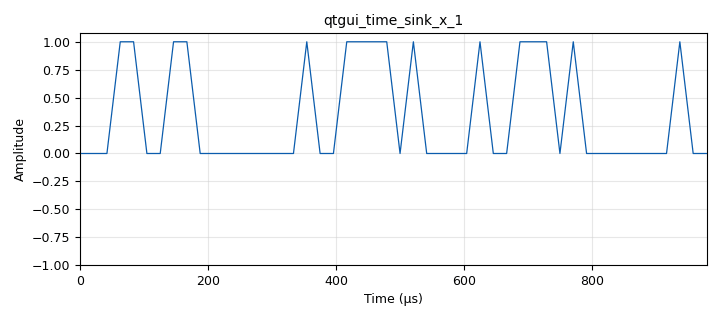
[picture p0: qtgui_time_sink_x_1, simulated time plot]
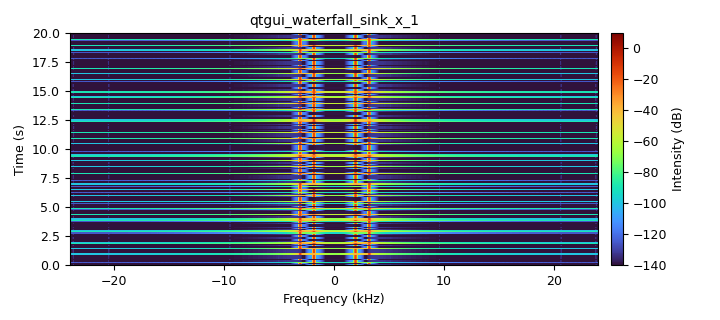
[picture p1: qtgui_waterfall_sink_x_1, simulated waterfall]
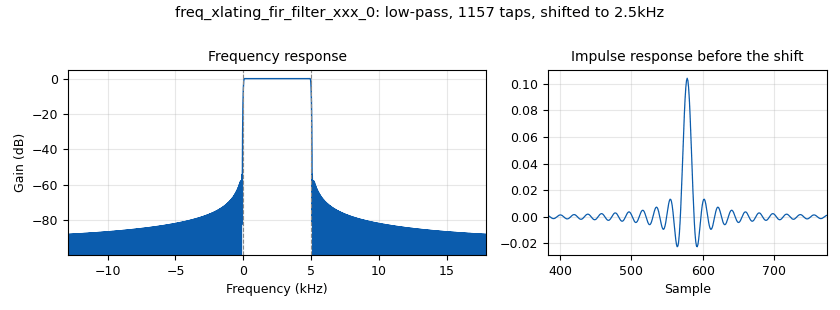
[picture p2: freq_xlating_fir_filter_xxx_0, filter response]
options:
  parameters:
    author: ubuntu
    generate_options: qt_gui
    id: test_vco
    output_language: python
    title: FSK demo
  states: {}

blocks:
- name: deviation
  id: variable
  parameters:
    value: '600'
  states: {}
- name: fc
  id: variable_qtgui_range
  parameters:
    label: Center frequency
    start: '100'
    step: '10'
    stop: '20000'
    value: '2500'
  states: {}
- name: samp_rate
  id: variable
  parameters:
    value: '48000'
  states: {}
- name: sensitivity
  id: variable
  parameters:
    value: 2*math.pi*deviation
  states: {}
- name: sps
  id: variable
  parameters:
    value: int(samp_rate/32)
  states: {}
- name: variable_low_pass_filter_taps_0
  id: variable_low_pass_filter_taps
  parameters:
    cutoff_freq: fc
    gain: '1.0'
    samp_rate: samp_rate
    width: '100'
    win: window.WIN_HAMMING
  states: {}
- name: analog_agc_xx_0
  id: analog_agc_xx
  parameters:
    gain: '1.0'
    max_gain: '2'
    rate: '1e-4'
    reference: '1.0'
    type: float
  states: {}
- name: analog_quadrature_demod_cf_1
  id: analog_quadrature_demod_cf
  parameters:
    gain: samp_rate/(2*math.pi*deviation)
  states: {}
- name: analog_random_source_x_0
  id: analog_random_source_x
  parameters:
    max: '2'
    min: '0'
    num_samps: '1000'
    repeat: 'True'
    type: byte
  states: {}
- name: blocks_add_const_vxx_0
  id: blocks_add_const_vxx
  parameters:
    const: fc/(sensitivity/(2*math.pi))
    type: float
  states: {}
- name: blocks_add_const_vxx_1
  id: blocks_add_const_vxx
  parameters:
    const: '-1'
    type: float
  states: {}
- name: blocks_char_to_float_0
  id: blocks_char_to_float
  parameters:
    scale: '1'
  states: {}
- name: blocks_char_to_float_1
  id: blocks_char_to_float
  parameters:
    scale: '1'
  states: {}
- name: blocks_multiply_const_vxx_1
  id: blocks_multiply_const_vxx
  parameters:
    const: '2'
    type: float
  states: {}
- name: blocks_repeat_0
  id: blocks_repeat
  parameters:
    interp: sps
    type: byte
  states: {}
- name: blocks_throttle2_0
  id: blocks_throttle2
  parameters:
    samples_per_second: samp_rate
    type: float
  states: {}
- name: blocks_vco_f_0
  id: blocks_vco_f
  parameters:
    amplitude: '1'
    samp_rate: samp_rate
    sensitivity: sensitivity
  states: {}
- name: blocks_wavfile_sink_0
  id: blocks_wavfile_sink
  parameters:
    bits_per_sample1: FORMAT_FLOAT
    file: vco.wav
    format: FORMAT_WAV
    samp_rate: samp_rate
  states: {}
- name: digital_binary_slicer_fb_0
  id: digital_binary_slicer_fb
  parameters: {}
  states: {}
- name: digital_symbol_sync_xx_0
  id: digital_symbol_sync_xx
  parameters:
    damping: '1.0'
    loop_bw: '0.045'
    max_dev: '1.5'
    osps: '1'
    resamp_type: digital.IR_MMSE_8TAP
    sps: sps
    ted_gain: '1.0'
    ted_type: digital.TED_EARLY_LATE
    type: ff
  states: {}
- name: freq_xlating_fir_filter_xxx_0
  id: freq_xlating_fir_filter_xxx
  parameters:
    center_freq: fc
    decim: '1'
    samp_rate: samp_rate
    taps: variable_low_pass_filter_taps_0
    type: fcc
  states: {}
- name: import_0
  id: import
  parameters:
    imports: import math
  states: {}
- name: qtgui_time_sink_x_1
  id: qtgui_time_sink_x
  parameters:
    size: int(1.5*samp_rate/sps)
    srate: samp_rate
    type: float
  states: {}
- name: qtgui_waterfall_sink_x_1
  id: qtgui_waterfall_sink_x
  parameters:
    bw: samp_rate
    fc: '0'
    fftsize: '1024'
    type: float
  states: {}

connections:
- [analog_agc_xx_0, '0', digital_symbol_sync_xx_0, '0']
- [analog_quadrature_demod_cf_1, '0', analog_agc_xx_0, '0']
- [analog_random_source_x_0, '0', blocks_repeat_0, '0']
- [blocks_add_const_vxx_0, '0', blocks_vco_f_0, '0']
- [blocks_add_const_vxx_1, '0', blocks_add_const_vxx_0, '0']
- [blocks_char_to_float_0, '0', blocks_multiply_const_vxx_1, '0']
- [blocks_char_to_float_1, '0', qtgui_time_sink_x_1, '0']
- [blocks_multiply_const_vxx_1, '0', blocks_add_const_vxx_1, '0']
- [blocks_repeat_0, '0', blocks_char_to_float_0, '0']
- [blocks_throttle2_0, '0', blocks_wavfile_sink_0, '0']
- [blocks_vco_f_0, '0', blocks_throttle2_0, '0']
- [blocks_vco_f_0, '0', freq_xlating_fir_filter_xxx_0, '0']
- [blocks_vco_f_0, '0', qtgui_waterfall_sink_x_1, '0']
- [digital_binary_slicer_fb_0, '0', blocks_char_to_float_1, '0']
- [digital_symbol_sync_xx_0, '0', digital_binary_slicer_fb_0, '0']
- [freq_xlating_fir_filter_xxx_0, '0', analog_quadrature_demod_cf_1, '0']

metadata:
  file_format: 1
  grc_version: 3.10.9.2
